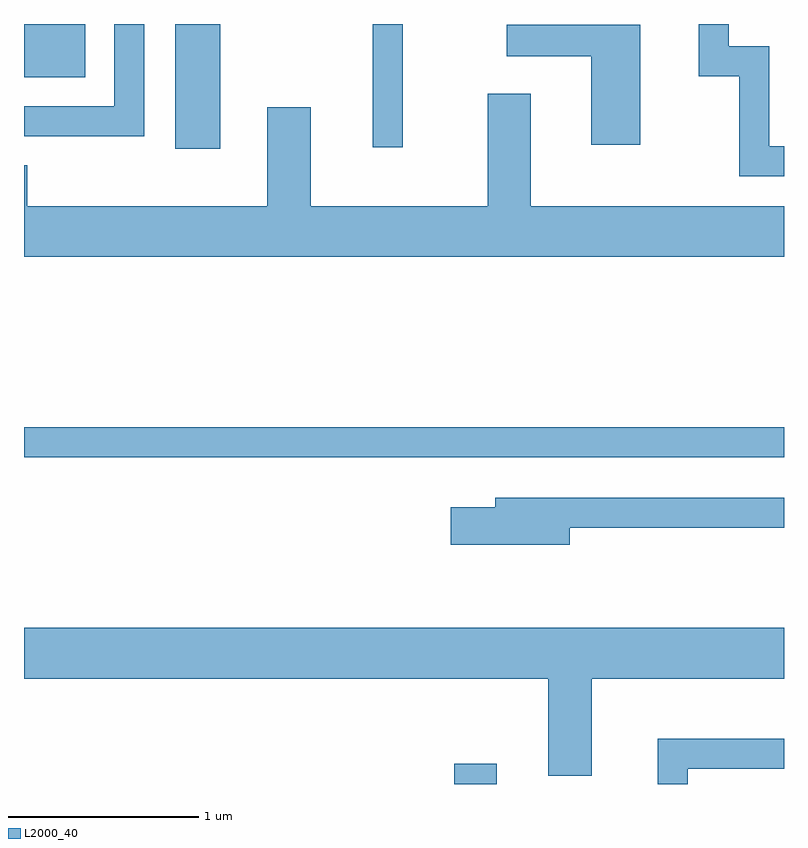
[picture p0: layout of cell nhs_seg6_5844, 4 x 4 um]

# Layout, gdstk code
import gdstk
lib = gdstk.Library(unit=1e-6, precision=1e-09)
def R(c, l, rs):  # rectangles x0, y0, x1, y1
    for r in rs: c.add(gdstk.rectangle(r[:2], r[2:], *l))
def P(c, l, *ps):  # polygons
    for p in ps: c.add(gdstk.Polygon(p, *l))
L2000_40 = (2000, 40)

nhs_seg6_5844 = lib.new_cell('nhs_seg6_5844')
R(nhs_seg6_5844, L2000_40, [(365.876,1536.162,366.099,1536.269), (363.611,1537.881,367.611,1538.039), (364.406,1539.506,364.644,1540.162), (365.446,1539.513,365.604,1540.162), (363.611,1539.881,363.934,1540.162)])
P(nhs_seg6_5844, L2000_40, [(367.611,1539.519),(367.534,1539.519),(367.534,1540.044),(367.319,1540.044),(367.319,1540.162),(367.161,1540.162),(367.161,1539.886),(367.376,1539.886),(367.376,1539.361),(367.611,1539.361)],
  [(364.244,1540.162),(364.086,1540.162),(364.086,1539.729),(363.611,1539.729),(363.611,1539.571),(364.244,1539.571)],
  [(366.854,1540.159),(366.153,1540.159),(366.153,1539.991),(366.596,1539.991),(366.596,1539.526),(366.854,1539.526)],
  [(367.611,1539.204),(366.279,1539.204),(366.279,1539.794),(366.051,1539.794),(366.051,1539.204),(365.119,1539.204),(365.119,1539.724),(364.891,1539.724),(364.891,1539.204),(363.629,1539.204),(363.629,1539.419),(363.611,1539.419),(363.611,1538.936),(367.611,1538.936)],
  [(366.484,1537.511),(367.611,1537.511),(367.611,1537.669),(366.091,1537.669),(366.091,1537.619),(365.856,1537.619),(365.856,1537.421),(366.484,1537.421)],
  [(366.599,1536.716),(367.611,1536.716),(367.611,1536.984),(363.611,1536.984),(363.611,1536.716),(366.371,1536.716),(366.371,1536.206),(366.599,1536.206)],
  [(367.104,1536.241),(367.611,1536.241),(367.611,1536.399),(366.946,1536.399),(366.946,1536.162),(367.104,1536.162)])

lib.write_gds('nhs_seg6_5844.gds')
